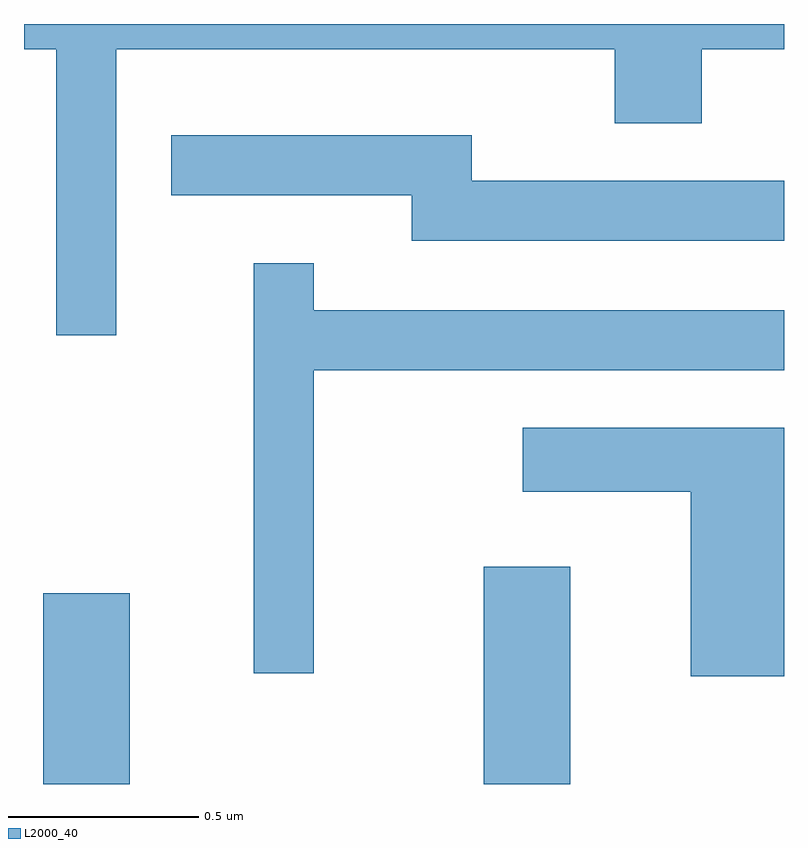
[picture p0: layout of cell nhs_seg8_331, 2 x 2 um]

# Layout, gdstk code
import gdstk
lib = gdstk.Library(unit=1e-6, precision=1e-09)
def R(c, l, rs):  # rectangles x0, y0, x1, y1
    for r in rs: c.add(gdstk.rectangle(r[:2], r[2:], *l))
def P(c, l, *ps):  # polygons
    for p in ps: c.add(gdstk.Polygon(p, *l))
L2000_40 = (2000, 40)

nhs_seg8_331 = lib.new_cell('nhs_seg8_331')
R(nhs_seg8_331, L2000_40, [(187.661,1863.342,187.889,1863.844), (188.821,1863.342,189.049,1863.914)])
P(nhs_seg8_331, L2000_40, [(187.854,1865.276),(189.166,1865.276),(189.166,1865.081),(189.394,1865.081),(189.394,1865.276),(189.611,1865.276),(189.611,1865.342),(187.611,1865.342),(187.611,1865.276),(187.696,1865.276),(187.696,1864.523),(187.854,1864.523)],
  [(189.611,1864.929),(188.789,1864.929),(188.789,1865.049),(187.998,1865.049),(187.998,1864.891),(188.631,1864.891),(188.631,1864.771),(189.611,1864.771)],
  [(188.374,1864.431),(189.611,1864.431),(189.611,1864.589),(188.374,1864.589),(188.374,1864.713),(188.216,1864.713),(188.216,1863.633),(188.374,1863.633)],
  [(189.611,1864.279),(188.923,1864.279),(188.923,1864.111),(189.366,1864.111),(189.366,1863.626),(189.611,1863.626)])

lib.write_gds('nhs_seg8_331.gds')
